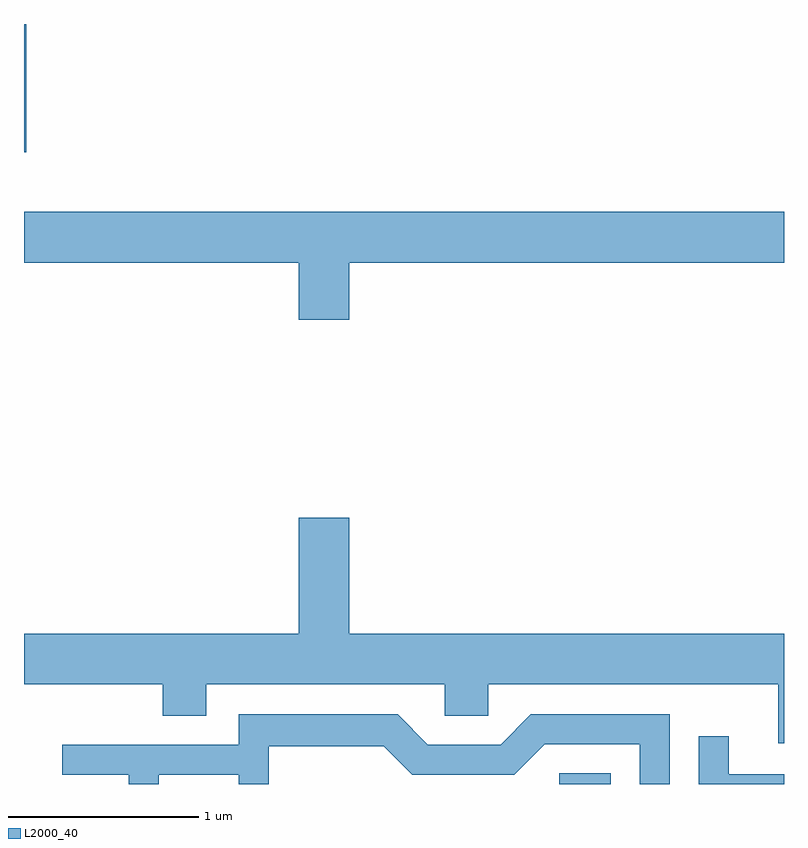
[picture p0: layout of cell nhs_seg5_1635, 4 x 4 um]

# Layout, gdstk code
import gdstk
lib = gdstk.Library(unit=1e-6, precision=1e-09)
def R(c, l, rs):  # rectangles x0, y0, x1, y1
    for r in rs: c.add(gdstk.rectangle(r[:2], r[2:], *l))
def P(c, l, *ps):  # polygons
    for p in ps: c.add(gdstk.Polygon(p, *l))
L2000_40 = (2000, 40)

nhs_seg5_1635 = lib.new_cell('nhs_seg5_1635')
R(nhs_seg5_1635, L2000_40, [(236.428,1434.072,236.699,1434.129), (233.611,1437.396,233.624,1438.072)])
P(nhs_seg5_1635, L2000_40, [(235.324,1436.816),(237.611,1436.816),(237.611,1437.084),(233.611,1437.084),(233.611,1436.816),(235.056,1436.816),(235.056,1436.516),(235.324,1436.516)],
  [(237.611,1434.864),(235.324,1434.864),(235.324,1435.474),(235.056,1435.474),(235.056,1434.864),(233.611,1434.864),(233.611,1434.596),(234.341,1434.596),(234.341,1434.431),(234.569,1434.431),(234.569,1434.596),(235.826,1434.596),(235.826,1434.431),(236.054,1434.431),(236.054,1434.596),(237.581,1434.596),(237.581,1434.286),(237.611,1434.286)],
  [(234.319,1434.121),(234.741,1434.121),(234.741,1434.072),(234.899,1434.072),(234.899,1434.271),(235.504,1434.271),(235.654,1434.121),(236.192,1434.121),(236.352,1434.281),(236.851,1434.281),(236.851,1434.072),(237.009,1434.072),(237.009,1434.439),(236.279,1434.439),(236.119,1434.279),(235.737,1434.279),(235.577,1434.439),(234.741,1434.439),(234.741,1434.279),(233.813,1434.279),(233.813,1434.121),(234.161,1434.121),(234.161,1434.072),(234.319,1434.072)],
  [(237.611,1434.124),(237.319,1434.124),(237.319,1434.323),(237.161,1434.323),(237.161,1434.072),(237.611,1434.072)])

lib.write_gds('nhs_seg5_1635.gds')
